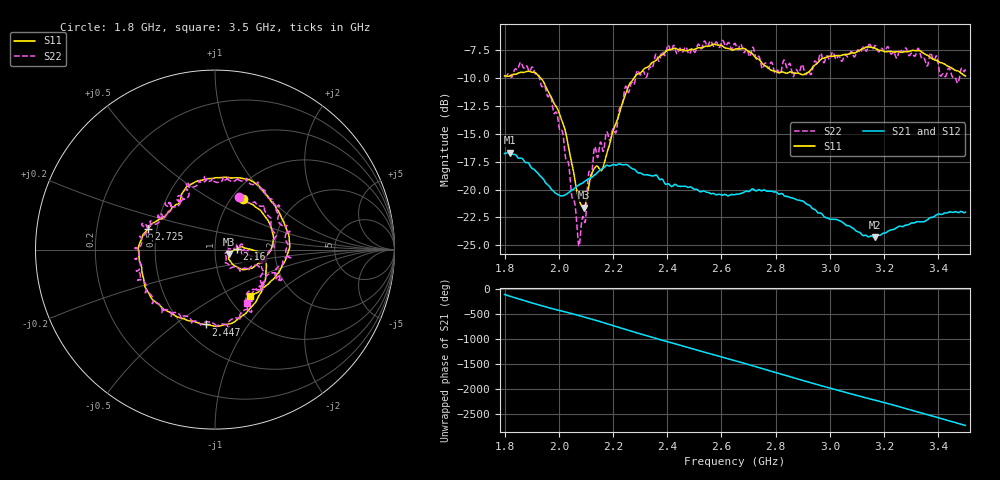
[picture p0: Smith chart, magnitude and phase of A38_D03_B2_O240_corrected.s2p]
! Created with skrf 1.9.0 (http://scikit-rf.org).
# Hz S RI R 50.0
!freq ReS11 ImS11 ReS21 ImS21 ReS12 ImS12 ReS22 ImS22
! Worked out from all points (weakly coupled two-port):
!   1601 points, 1.8 GHz to 3.5 GHz, reference 50 ohm
!   highest |S21| = -16.70 dB at 1.818 GHz (marker M1); lowest = -24.3 dB at 3.165 GHz (marker M2)
!   lowest |S11| = -21.6 dB at 2.091 GHz (marker M3), VSWR 1.18, Z = 58.5 - j2.9 ohm
!   |S11| at or under -10 dB: 1.932 GHz to 2.278 GHz (346.4 MHz wide, 16.5 % of centre)
!   |S22| runs from -25.1 to -6.7 dB; largest |S21 - S12| = 0.0024
!   S11 on the Smith chart (normalised r, x): 1.8 GHz: 1.12, +0.71; 2.16 GHz: 1.28, +0.01; 2.447 GHz: 0.64, -0.65; 2.725 GHz: 0.45, +0.12; 3.5 GHz: 1.25, -0.72
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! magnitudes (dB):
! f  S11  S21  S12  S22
! 1.8 GHz  -9.8  -16.8  -16.8  -9.9
! 1.818 GHz  -9.9  -16.7  -16.7  -9.7
! 1.903 GHz  -9.5  -18.1  -18.1  -9.1
! 1.968 GHz  -11.5  -19.8  -19.9  -11.6
! 2.015 GHz  -14.1  -20.6  -20.6  -15.0
! 2.072 GHz  -20.7  -19.6  -19.7  -24.8
! 2.084 GHz  -21.4  -19.5  -19.4  -23.0
! 2.091 GHz  -21.6  -19.3  -19.4  -22.5
! 2.13 GHz  -18.1  -18.7  -18.7  -16.4
! 2.16 GHz  -18.2  -18.1  -18.1  -16.3
! 2.209 GHz  -14.2  -17.8  -17.8  -15.0
! 2.259 GHz  -10.6  -17.9  -17.9  -11.3
! 2.367 GHz  -8.2  -19.0  -18.9  -8.5
! 2.447 GHz  -7.5  -19.7  -19.7  -7.4
! 2.65 GHz  -7.5  -20.4  -20.4  -6.9
! 2.725 GHz  -8.2  -20.1  -20.1  -8.1
! 2.934 GHz  -9.2  -21.7  -21.6  -9.6
! 3.165 GHz  -7.4  -24.3  -24.3  -7.1
! 3.217 GHz  -7.7  -23.7  -23.7  -7.4
! 3.376 GHz  -8.3  -22.5  -22.5  -7.9
! 3.469 GHz  -9.4  -22.0  -22.0  -10.4
! 3.5 GHz  -9.9  -22.0  -22.0  -9.2
